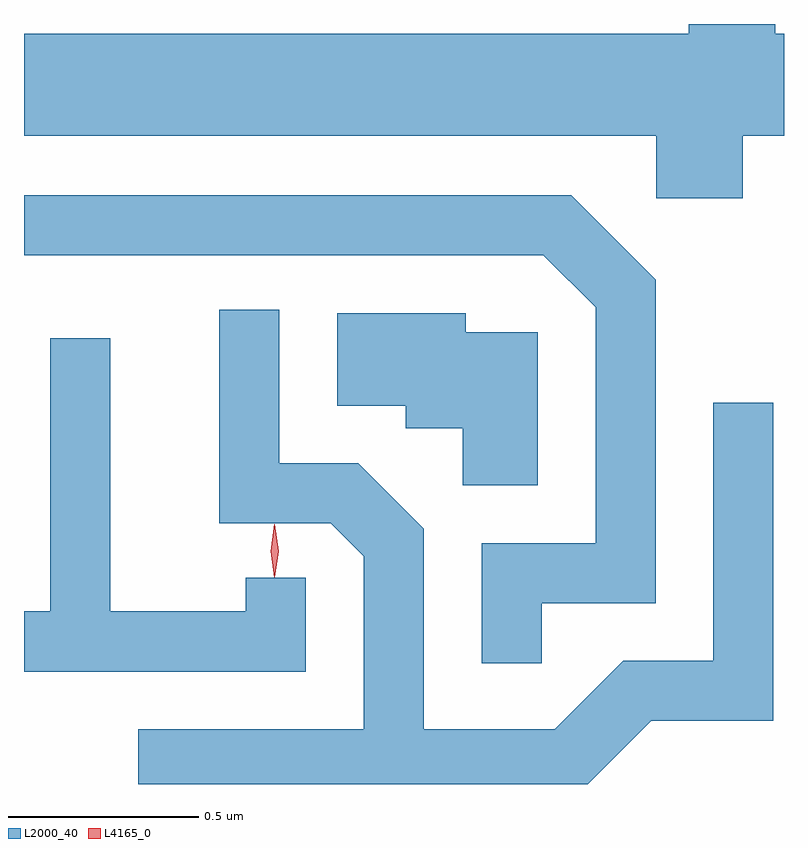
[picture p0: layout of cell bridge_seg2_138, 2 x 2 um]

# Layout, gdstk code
import gdstk
lib = gdstk.Library(unit=1e-6, precision=1e-09)
def P(c, l, *ps):  # polygons
    for p in ps: c.add(gdstk.Polygon(p, *l))
L2000_40 = (2000, 40)
L4165_0 = (4165, 0)

bridge_seg2_138 = lib.new_cell('bridge_seg2_138')
P(bridge_seg2_138, L2000_40, [(968.244,1112.696),(968.352,1112.696),(968.352,1112.964),(968.329,1112.964),(968.329,1112.99),(968.101,1112.99),(968.101,1112.964),(966.352,1112.964),(966.352,1112.696),(968.016,1112.696),(968.016,1112.531),(968.244,1112.531)],
  [(967.714,1111.466),(968.014,1111.466),(968.014,1112.317),(967.792,1112.539),(966.352,1112.539),(966.352,1112.381),(967.719,1112.381),(967.856,1112.244),(967.856,1111.624),(967.556,1111.624),(967.556,1111.308),(967.714,1111.308)],
  [(968.002,1111.156),(968.324,1111.156),(968.324,1111.993),(968.166,1111.993),(968.166,1111.314),(967.929,1111.314),(967.749,1111.134),(967.404,1111.134),(967.404,1111.662),(967.232,1111.834),(967.024,1111.834),(967.024,1112.238),(966.866,1112.238),(966.866,1111.676),(967.159,1111.676),(967.246,1111.589),(967.246,1111.134),(966.653,1111.134),(966.653,1110.99),(967.836,1110.99)],
  [(967.704,1112.179),(967.514,1112.179),(967.514,1112.229),(967.176,1112.229),(967.176,1111.986),(967.356,1111.986),(967.356,1111.926),(967.506,1111.926),(967.506,1111.776),(967.704,1111.776)],
  [(967.094,1111.533),(966.936,1111.533),(966.936,1111.444),(966.579,1111.444),(966.579,1112.163),(966.421,1112.163),(966.421,1111.444),(966.352,1111.444),(966.352,1111.286),(967.094,1111.286)])
P(bridge_seg2_138, L4165_0, [(967.011,1111.534),(967.001,1111.603),(967.011,1111.673),(967.012,1111.673),(967.012,1111.673),(967.022,1111.603),(967.012,1111.534),(967.012,1111.534)])

lib.write_gds('bridge_seg2_138.gds')
